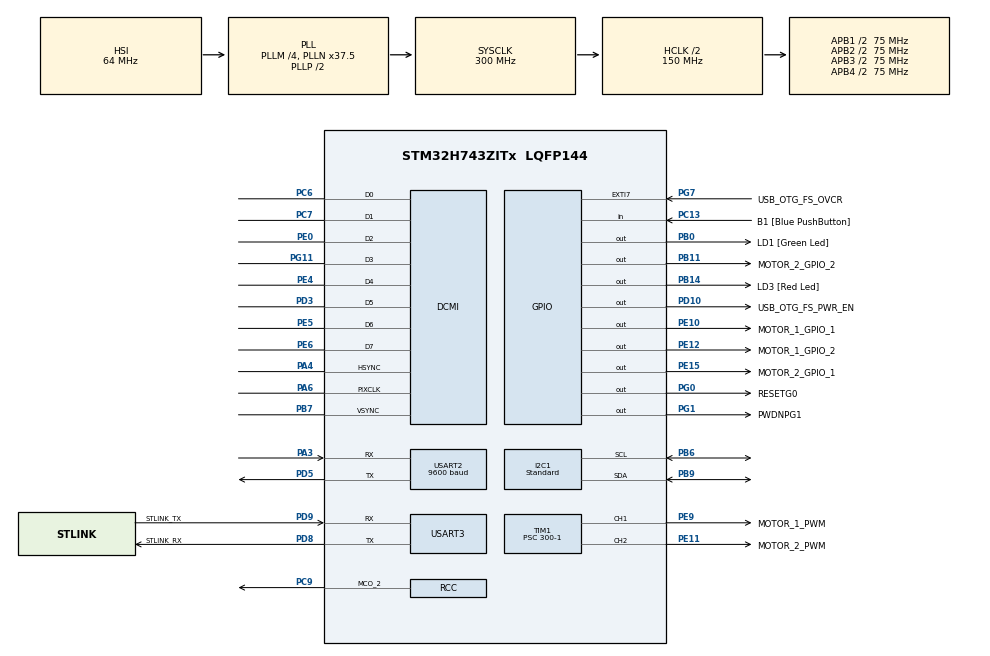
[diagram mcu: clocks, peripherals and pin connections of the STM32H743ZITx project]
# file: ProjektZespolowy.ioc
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DCMI.JPEGMode=DCMI_JPEG_ENABLE
DCMI.PCKPolarity=DCMI_PCKPOLARITY_RISING
Dma.DCMI.0.Direction=DMA_PERIPH_TO_MEMORY
Dma.DCMI.0.EventEnable=DISABLE
Dma.DCMI.0.FIFOMode=DMA_FIFOMODE_ENABLE
Dma.DCMI.0.FIFOThreshold=DMA_FIFO_THRESHOLD_FULL
Dma.DCMI.0.Instance=DMA1_Stream2
Dma.DCMI.0.MemBurst=DMA_MBURST_SINGLE
Dma.DCMI.0.MemDataAlignment=DMA_MDATAALIGN_BYTE
Dma.DCMI.0.MemInc=DMA_MINC_ENABLE
Dma.DCMI.0.Mode=DMA_CIRCULAR
Dma.DCMI.0.PeriphBurst=DMA_PBURST_SINGLE
Dma.DCMI.0.PeriphDataAlignment=DMA_PDATAALIGN_WORD
Dma.DCMI.0.PeriphInc=DMA_PINC_DISABLE
Dma.DCMI.0.Polarity=HAL_DMAMUX_REQ_GEN_RISING
Dma.DCMI.0.Priority=DMA_PRIORITY_VERY_HIGH
Dma.DCMI.0.RequestNumber=1
Dma.DCMI.0.SignalID=NONE
Dma.DCMI.0.SyncEnable=DISABLE
Dma.DCMI.0.SyncPolarity=HAL_DMAMUX_SYNC_NO_EVENT
Dma.DCMI.0.SyncRequestNumber=1
Dma.DCMI.0.SyncSignalID=NONE
Dma.Request0=DCMI
Dma.Request1=USART3_TX
Dma.Request2=USART2_RX
Dma.USART2_RX.2.Direction=DMA_PERIPH_TO_MEMORY
Dma.USART2_RX.2.EventEnable=DISABLE
Dma.USART2_RX.2.FIFOMode=DMA_FIFOMODE_DISABLE
Dma.USART2_RX.2.Instance=DMA1_Stream1
Dma.USART2_RX.2.MemDataAlignment=DMA_MDATAALIGN_BYTE
Dma.USART2_RX.2.MemInc=DMA_MINC_ENABLE
Dma.USART2_RX.2.Mode=DMA_NORMAL
Dma.USART2_RX.2.PeriphDataAlignment=DMA_PDATAALIGN_BYTE
Dma.USART2_RX.2.PeriphInc=DMA_PINC_DISABLE
Dma.USART2_RX.2.Polarity=HAL_DMAMUX_REQ_GEN_RISING
Dma.USART2_RX.2.Priority=DMA_PRIORITY_LOW
Dma.USART2_RX.2.RequestNumber=1
Dma.USART2_RX.2.SignalID=NONE
Dma.USART2_RX.2.SyncEnable=DISABLE
Dma.USART2_RX.2.SyncPolarity=HAL_DMAMUX_SYNC_NO_EVENT
Dma.USART2_RX.2.SyncRequestNumber=1
Dma.USART2_RX.2.SyncSignalID=NONE
Dma.USART3_TX.1.Direction=DMA_MEMORY_TO_PERIPH
Dma.USART3_TX.1.EventEnable=DISABLE
Dma.USART3_TX.1.FIFOMode=DMA_FIFOMODE_ENABLE
Dma.USART3_TX.1.FIFOThreshold=DMA_FIFO_THRESHOLD_FULL
Dma.USART3_TX.1.Instance=DMA1_Stream0
Dma.USART3_TX.1.MemBurst=DMA_MBURST_SINGLE
Dma.USART3_TX.1.MemDataAlignment=DMA_MDATAALIGN_BYTE
Dma.USART3_TX.1.MemInc=DMA_MINC_ENABLE
Dma.USART3_TX.1.Mode=DMA_NORMAL
Dma.USART3_TX.1.PeriphBurst=DMA_PBURST_SINGLE
Dma.USART3_TX.1.PeriphDataAlignment=DMA_PDATAALIGN_BYTE
Dma.USART3_TX.1.PeriphInc=DMA_PINC_DISABLE
Dma.USART3_TX.1.Polarity=HAL_DMAMUX_REQ_GEN_RISING
Dma.USART3_TX.1.Priority=DMA_PRIORITY_VERY_HIGH
Dma.USART3_TX.1.RequestNumber=1
Dma.USART3_TX.1.SignalID=NONE
Dma.USART3_TX.1.SyncEnable=DISABLE
Dma.USART3_TX.1.SyncPolarity=HAL_DMAMUX_SYNC_NO_EVENT
Dma.USART3_TX.1.SyncRequestNumber=1
Dma.USART3_TX.1.SyncSignalID=NONE
I2C1.I2C_Speed_Mode=I2C_Standard
I2C1.Timing=0x109093DC
Mcu.Family=STM32H7
Mcu.Name=STM32H743ZITx
Mcu.Package=LQFP144
NVIC.DCMI_IRQn=true\:0\:0\:false\:false\:true\:true\:true\:true
NVIC.DMA1_Stream0_IRQn=true\:0\:0\:false\:false\:true\:false\:true\:true
NVIC.DMA1_Stream1_IRQn=true\:0\:0\:false\:false\:true\:false\:true\:true
NVIC.DMA1_Stream2_IRQn=true\:0\:0\:false\:false\:true\:false\:true\:true
NVIC.PriorityGroup=NVIC_PRIORITYGROUP_4
NVIC.USART2_IRQn=true\:0\:0\:false\:false\:true\:true\:true\:true
PA3.Mode=Asynchronous
PA3.Signal=USART2_RX
PA4.GPIO_Speed=GPIO_SPEED_FREQ_VERY_HIGH
PA4.Mode=Slave_8_bits_External_Synchro
PA4.Signal=DCMI_HSYNC
PA6.GPIO_Speed=GPIO_SPEED_FREQ_VERY_HIGH
PA6.Mode=Slave_8_bits_External_Synchro
PA6.Signal=DCMI_PIXCLK
PB0.GPIO_Label=LD1 [Green Led]
PB0.Signal=GPIO_Output
PB11.GPIO_Label=MOTOR_2_GPIO_2 
PB11.Signal=GPIO_Output
PB14.GPIO_Label=LD3 [Red Led]
PB14.Signal=GPIO_Output
PB6.GPIO_Speed=GPIO_SPEED_FREQ_VERY_HIGH
PB6.Mode=I2C
PB6.Signal=I2C1_SCL
PB7.GPIO_Speed=GPIO_SPEED_FREQ_VERY_HIGH
PB7.Mode=Slave_8_bits_External_Synchro
PB7.Signal=DCMI_VSYNC
PB9.GPIO_Speed=GPIO_SPEED_FREQ_VERY_HIGH
PB9.Mode=I2C
PB9.Signal=I2C1_SDA
PC13.GPIO_Label=B1 [Blue PushButton]
PC13.Signal=GPIO_Input
PC14-OSC32_IN\ (OSC32_IN).Mode=LSE-External-Oscillator
PC14-OSC32_IN\ (OSC32_IN).Signal=RCC_OSC32_IN
PC15-OSC32_OUT\ (OSC32_OUT).Mode=LSE-External-Oscillator
PC15-OSC32_OUT\ (OSC32_OUT).Signal=RCC_OSC32_OUT
PC6.GPIO_Speed=GPIO_SPEED_FREQ_VERY_HIGH
PC6.Mode=Slave_8_bits_External_Synchro
PC6.Signal=DCMI_D0
PC7.GPIO_Speed=GPIO_SPEED_FREQ_VERY_HIGH
PC7.Mode=Slave_8_bits_External_Synchro
PC7.Signal=DCMI_D1
PC9.GPIO_Speed=GPIO_SPEED_FREQ_LOW
PC9.Mode=Clock-out-2
PC9.Signal=RCC_MCO_2
PD10.GPIO_Label=USB_OTG_FS_PWR_EN
PD10.Signal=GPIO_Output
PD3.GPIO_Speed=GPIO_SPEED_FREQ_VERY_HIGH
PD3.Mode=Slave_8_bits_External_Synchro
PD3.Signal=DCMI_D5
PD5.Mode=Asynchronous
PD5.Signal=USART2_TX
PD8.GPIO_Label=STLINK_RX
PD8.Mode=Asynchronous
PD8.Signal=USART3_TX
PD9.GPIO_Label=STLINK_TX
PD9.Mode=Asynchronous
PD9.Signal=USART3_RX
PE0.GPIO_Speed=GPIO_SPEED_FREQ_VERY_HIGH
PE0.Mode=Slave_8_bits_External_Synchro
PE0.Signal=DCMI_D2
PE10.GPIO_Label=MOTOR_1_GPIO_1
PE10.Signal=GPIO_Output
PE11.GPIO_Label=MOTOR_2_PWM
PE11.Signal=S_TIM1_CH2
PE12.GPIO_Label=MOTOR_1_GPIO_2
PE12.Signal=GPIO_Output
PE15.GPIO_Label=MOTOR_2_GPIO_1
PE15.Signal=GPIO_Output
PE4.GPIO_Speed=GPIO_SPEED_FREQ_VERY_HIGH
PE4.Mode=Slave_8_bits_External_Synchro
PE4.Signal=DCMI_D4
PE5.GPIO_Speed=GPIO_SPEED_FREQ_VERY_HIGH
PE5.Mode=Slave_8_bits_External_Synchro
PE5.Signal=DCMI_D6
PE6.GPIO_Speed=GPIO_SPEED_FREQ_VERY_HIGH
PE6.Mode=Slave_8_bits_External_Synchro
PE6.Signal=DCMI_D7
PE9.GPIO_Label=MOTOR_1_PWM
PE9.Signal=S_TIM1_CH1
PG0.GPIO_Label=RESETG0
PG0.Signal=GPIO_Output
PG1.GPIO_Label=PWDNPG1
PG1.Signal=GPIO_Output
PG11.GPIO_Speed=GPIO_SPEED_FREQ_VERY_HIGH
PG11.Mode=Slave_8_bits_External_Synchro
PG11.Signal=DCMI_D3
PG7.GPIO_Label=USB_OTG_FS_OVCR
PG7.Signal=GPXTI7
PH0-OSC_IN\ (PH0).Mode=HSE-External-Oscillator
PH0-OSC_IN\ (PH0).Signal=RCC_OSC_IN
PH1-OSC_OUT\ (PH1).Mode=HSE-External-Oscillator
PH1-OSC_OUT\ (PH1).Signal=RCC_OSC_OUT
ProjectManager.HeapSize=0x200
ProjectManager.StackSize=0x400
ProjectManager.TargetToolchain=STM32CubeIDE
RCC.ADCFreq_Value=129000000
RCC.APB1Freq_Value=75000000
RCC.APB2Freq_Value=75000000
RCC.APB3Freq_Value=75000000
RCC.APB4Freq_Value=75000000
RCC.CortexFreq_Value=300000000
RCC.D1PPRE=RCC_APB3_DIV2
RCC.D2PPRE1=RCC_APB1_DIV2
RCC.D2PPRE2=RCC_APB2_DIV2
RCC.D3PPRE=RCC_APB4_DIV2
RCC.DIVM1=4
RCC.DIVN1=37
RCC.DIVQ1=4
RCC.HCLKFreq_Value=150000000
RCC.HPRE=RCC_HCLK_DIV2
RCC.HSE_VALUE=8000000
RCC.PLL2FRACN=0
RCC.PLL3FRACN=0
RCC.PLLFRACN=4096
RCC.PWR_Regulator_Voltage_Scale=PWR_REGULATOR_VOLTAGE_SCALE2
RCC.RCC_MCODiv2=RCC_MCODIV_12
RCC.SYSCLKFreq_VALUE=300000000
RCC.SYSCLKSource=RCC_SYSCLKSOURCE_PLLCLK
RCC.USBFreq_Value=150000000
SH.S_TIM1_CH1.0=TIM1_CH1,PWM Generation1 CH1
SH.S_TIM1_CH2.0=TIM1_CH2,PWM Generation2 CH2
TIM1.Channel-PWM\ Generation1\ CH1=TIM_CHANNEL_1
TIM1.Channel-PWM\ Generation2\ CH2=TIM_CHANNEL_2
TIM1.Period=1000-1
TIM1.Prescaler=300-1
USART2.BaudRate=9600
USART2.VirtualMode-Asynchronous=VM_ASYNC
USART3.VirtualMode-Asynchronous=VM_ASYNC
VP_JPEG_VS_JPEG.Mode=JPEG_Activate
board=NUCLEO-H743ZI2

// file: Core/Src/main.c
/* USER CODE BEGIN Header */
/**
  ******************************************************************************
  * @file           : main.c
  * @brief          : Main program body
  ******************************************************************************
  * @attention
  *
  * Copyright (c) 2022 STMicroelectronics.
  * All rights reserved.
  *
  * This software is licensed under terms that can be found in the LICENSE file
  * in the root directory of this software component.
  * If no LICENSE file comes with this software, it is provided AS-IS.
  *
  ******************************************************************************
  */
/* USER CODE END Header */
#include "main.h"

/* USER CODE BEGIN Includes */
#include "camera.h"
#include "string.h"
#include "stdio.h"
/* USER CODE END Includes */

/* USER CODE BEGIN PTD */
#define RxBuff_SIZE 64
#define MainBuf_SIZE 128

uint8_t MainBuff[MainBuf_SIZE];
uint8_t RxBuff[RxBuff_SIZE];

/* USER CODE END PTD */

/* USER CODE BEGIN PD */
#define RES320x240
//#define RES800x600
//#define RES1024x768
//#define RES1280x960

/* USER CODE END PD */

DCMI_HandleTypeDef hdcmi;
DMA_HandleTypeDef hdma_dcmi;

I2C_HandleTypeDef hi2c1;

JPEG_HandleTypeDef hjpeg;

TIM_HandleTypeDef htim1;

UART_HandleTypeDef huart2;
UART_HandleTypeDef huart3;
DMA_HandleTypeDef hdma_usart2_rx;
DMA_HandleTypeDef hdma_usart3_tx;

/* USER CODE BEGIN PV */
#ifdef RES320x240
enum imgResolution imgRes = RES_320x240;
uint8_t imgFrameBuffer[15534] = {0};
#endif

#ifdef RES800x600
enum imgResolution imgRes = RES_800x600;
uint8_t imgFrameBuffer[] = {0};
#endif

#ifdef RES1024x768
enum imgResolution imgRes = RES_1024x768;
uint8_t imgFrameBuffer[] = {0};
#endif

#ifdef RES1280x960
enum imgResolution imgRes = RES_1280x960;
uint8_t imgFrameBuffer[] = {0};
#endif

uint32_t mutex = 0;
uint16_t imgBufferPointer = 0;
uint16_t imgHeaderFound = 0;
volatile uint16_t recieve_flag=0;
volatile uint16_t size_recieved=0;
/* USER CODE END PV */

void SystemClock_Config(void);
static void MX_GPIO_Init(void);
static void MX_DMA_Init(void);
static void MX_USART3_UART_Init(void);
static void MX_DCMI_Init(void);
static void MX_I2C1_Init(void);
static void MX_JPEG_Init(void);
static void MX_USART2_UART_Init(void);
static void MX_TIM1_Init(void);
/* USER CODE BEGIN PFP */
uint8_t data;
/* USER CODE END PFP */

/* USER CODE BEGIN 0 */
/*
void HAL_UART_RxCpltCallback(UART_HandleTypeDef * uart) {
	if (uart == &huart2) {
		//frame_parser_recv_char(&frame_parser_handler, recv_char);
		recieve_flag = 1;
		HAL_UART_Transmit_IT(uart, data, 1);
		HAL_UART_Receive_IT(&huart2, data, 1);
	}
}
*/

int _write(int file, unsigned char *ptr, int len){
	HAL_UART_Transmit(&huart2, ptr, len, HAL_MAX_DELAY);
	return len;
}
/* USER CODE END 0 */

int main(void)
{

  /* MCU Configuration--------------------------------------------------------*/

  /* Reset of all peripherals, Initializes the Flash interface and the Systick. */
  HAL_Init();

  /* Configure the system clock */
  SystemClock_Config();

  /* Initialize all configured peripherals */
  MX_GPIO_Init();
  MX_DMA_Init();
  MX_USART3_UART_Init();
  MX_DCMI_Init();
  MX_I2C1_Init();
  MX_JPEG_Init();
  MX_USART2_UART_Init();
  MX_TIM1_Init();
  /* USER CODE BEGIN 2 */

  camera_setUART(&huart2);
  camera_Init(&hi2c1, &hdcmi);
  HAL_Delay(10);

  HAL_TIM_Base_Start(&htim1);
  //camera_ResolutionConfiguration(imgRes);
  //camera_configuration(OV2640_QVGA);
  HAL_Delay(10);
  HAL_UARTEx_ReceiveToIdle_DMA(&huart2,RxBuff,RxBuff_SIZE);
  __HAL_DMA_DISABLE_IT(&hdma_usart2_rx, DMA_IT_HT);

  HAL_UART_Transmit(&huart2, (uint8_t*)"Koniec\n\r", strlen("Koniec\n\r"), 100);

  int pwm_1=0;
  int pwm_2 =0;
  char state = 0;
  /* USER CODE END 2 */

  /* Infinite loop */
  /* USER CODE BEGIN WHILE */
  while (1)
  {

/*
    # forward = 1 backward = 0 => do przodu
    #
    # 0 1 => do tylu
    #
    # 0 0 => 'soft stop'
    #
    # 1 1 => tylko zmiana predkosci
    #
    # WAZNE predkosc z zakresu 0 - 100 [%]
    #
    # pwm wypelniane %
    # pi_pwm1.ChangeDutyCycle(speed)
	*/

	  if(recieve_flag)
	  {
		  recieve_flag=0;

		  memcpy(MainBuff,RxBuff,size_recieved);
		  HAL_UARTEx_ReceiveToIdle_DMA(&huart2,RxBuff,RxBuff_SIZE);
		   __HAL_DMA_DISABLE_IT(&hdma_usart2_rx,DMA_IT_HT);
		  //HAL_UART_Receive_DMA(&huart2, data, 100);
		  //HAL_UART_Transmit(&huart2, data, strlen(data), 100);

		  printf("Recieved: %s\r\n",MainBuff);
		  //sscanf(MainBuff,"%c %d %d",&state,&pwm_1,&pwm_2);
		  //memcpy(MainBuff,0,size_recieved);

		 // printf("Recieved2: %c %d %d\r\n",state,pwm_1,pwm_2);

		  if(pwm_1>0)//do przodu
		  {
			  HAL_GPIO_WritePin(MOTOR_1_GPIO_1_GPIO_Port, MOTOR_1_GPIO_1_Pin,	1);
			  HAL_GPIO_WritePin(MOTOR_1_GPIO_2_GPIO_Port, MOTOR_1_GPIO_2_Pin,	0);

			  __HAL_TIM_SET_COMPARE(&htim1, TIM_CHANNEL_1, 1000.0*pwm_1/100.0);

		  }else // do tyłu
		  {
			  HAL_GPIO_WritePin(MOTOR_1_GPIO_1_GPIO_Port, MOTOR_1_GPIO_1_Pin,	0);
			  HAL_GPIO_WritePin(MOTOR_1_GPIO_2_GPIO_Port, MOTOR_1_GPIO_2_Pin,	1);

			  __HAL_TIM_SET_COMPARE(&htim1, TIM_CHANNEL_1, -1000.0*pwm_1/100.0);

		  }

		  if(pwm_2>0)//do przodu
		  {
			  HAL_GPIO_WritePin(MOTOR_2_GPIO_1_GPIO_Port,  MOTOR_2_GPIO_1_Pin,	1);
			  HAL_GPIO_WritePin(MOTOR_2_GPIO_2_GPIO_Port, MOTOR_2_GPIO_2_Pin,	0);

			  __HAL_TIM_SET_COMPARE(&htim1, TIM_CHANNEL_2, 1000.0*pwm_2/100.0);

		   }else // do tyłu
		   {
				  HAL_GPIO_WritePin(MOTOR_2_GPIO_1_GPIO_Port, MOTOR_2_GPIO_1_Pin,	0);
				  HAL_GPIO_WritePin(MOTOR_2_GPIO_2_GPIO_Port, MOTOR_2_GPIO_2_Pin,	1);

				  __HAL_TIM_SET_COMPARE(&htim1, TIM_CHANNEL_2, -1000.0*pwm_2/100.0);
		   }
		  if(state == 'r')//jeżęli puszczono
		  {

			  //soft stop
			  HAL_GPIO_WritePin(MOTOR_1_GPIO_1_GPIO_Port, MOTOR_1_GPIO_1_Pin,	0);
			  HAL_GPIO_WritePin(MOTOR_1_GPIO_2_GPIO_Port, MOTOR_1_GPIO_2_Pin,	0);
			  HAL_GPIO_WritePin(MOTOR_2_GPIO_1_GPIO_Port, MOTOR_2_GPIO_1_Pin,	0);
			  HAL_GPIO_WritePin(MOTOR_2_GPIO_2_GPIO_Port, MOTOR_2_GPIO_2_Pin,	0);

		  }
	  }
	  /*if(HAL_GPIO_ReadPin(B1_GPIO_Port, B1_Pin)){
		  //HAL_UART_Transmit(&huart2, (uint8_t*)"Przycisk", strlen("Przycisk"), 100);
		  //HAL_UART_Transmit(huart, pData, Size, Timeout)
		  camera_CaptureSnapshot();
		  //camera_CaptureContinuous();
	  }*/
	  /*if(HAL_GPIO_ReadPin(B1_GPIO_Port, B1_Pin)){
		  if(mutex == 1){
			  HAL_DCMI_Stop(&hdcmi);
			  memset(imgFrameBuffer, 0, sizeof imgFrameBuffer);
			  //camera_CaptureSnapshot((uint32_t) imgFrameBuffer, 15534);
			  HAL_DCMI_Start_DMA(&hdcmi, DCMI_MODE_SNAPSHOT, (uint32_t)imgFrameBuffer, 65535/4);
			  //HAL_UART_Transmit_DMA(&huart2, imgFrameBuffer, 15534)
			  while(1)
			  {
				  if(imgHeaderFound == 0 && imgFrameBuffer[imgBufferPointer] == 0xFF
						  && imgFrameBuffer[imgBufferPointer+1] == 0xD8){
					  imgHeaderFound = 1;
				  }

				  if(imgHeaderFound == 1 && imgFrameBuffer[imgBufferPointer] == 0xFF
				 						  && imgFrameBuffer[imgBufferPointer+1] == 0xD9){
					  imgBufferPointer += 2;
					  imgHeaderFound = 0;
					  break;
				  }

				  if(imgBufferPointer >= 65535){
					  break;
				  }
				  imgBufferPointer++;
			  }
			  HAL_UART_Transmit_DMA(&huart2, imgFrameBuffer, imgBufferPointer);
			  imgBufferPointer = 0;
			  mutex = 0;
		  }
	  }else{
		  mutex = 1;
	  }*/
    /* USER CODE END WHILE */

  }
}

void SystemClock_Config(void)
{
  RCC_OscInitTypeDef RCC_OscInitStruct = {0};
  RCC_ClkInitTypeDef RCC_ClkInitStruct = {0};

  /** Supply configuration update enable
  */
  HAL_PWREx_ConfigSupply(PWR_LDO_SUPPLY);

  /** Configure the main internal regulator output voltage
  */
  __HAL_PWR_VOLTAGESCALING_CONFIG(PWR_REGULATOR_VOLTAGE_SCALE2);

  while(!__HAL_PWR_GET_FLAG(PWR_FLAG_VOSRDY)) {}

  /** Initializes the RCC Oscillators according to the specified parameters
  * in the RCC_OscInitTypeDef structure.
  */
  RCC_OscInitStruct.OscillatorType = RCC_OSCILLATORTYPE_HSI;
  RCC_OscInitStruct.HSIState = RCC_HSI_DIV1;
  RCC_OscInitStruct.HSICalibrationValue = RCC_HSICALIBRATION_DEFAULT;
  RCC_OscInitStruct.PLL.PLLState = RCC_PLL_ON;
  RCC_OscInitStruct.PLL.PLLSource = RCC_PLLSOURCE_HSI;
  RCC_OscInitStruct.PLL.PLLM = 4;
  RCC_OscInitStruct.PLL.PLLN = 37;
  RCC_OscInitStruct.PLL.PLLP = 2;
  RCC_OscInitStruct.PLL.PLLQ = 4;
  RCC_OscInitStruct.PLL.PLLR = 2;
  RCC_OscInitStruct.PLL.PLLRGE = RCC_PLL1VCIRANGE_3;
  RCC_OscInitStruct.PLL.PLLVCOSEL = RCC_PLL1VCOWIDE;
  RCC_OscInitStruct.PLL.PLLFRACN = 4096;
  if (HAL_RCC_OscConfig(&RCC_OscInitStruct) != HAL_OK)
  {
    Error_Handler();
  }

  /** Initializes the CPU, AHB and APB buses clocks
  */
  RCC_ClkInitStruct.ClockType = RCC_CLOCKTYPE_HCLK|RCC_CLOCKTYPE_SYSCLK
                              |RCC_CLOCKTYPE_PCLK1|RCC_CLOCKTYPE_PCLK2
                              |RCC_CLOCKTYPE_D3PCLK1|RCC_CLOCKTYPE_D1PCLK1;
  RCC_ClkInitStruct.SYSCLKSource = RCC_SYSCLKSOURCE_PLLCLK;
  RCC_ClkInitStruct.SYSCLKDivider = RCC_SYSCLK_DIV1;
  RCC_ClkInitStruct.AHBCLKDivider = RCC_HCLK_DIV2;
  RCC_ClkInitStruct.APB3CLKDivider = RCC_APB3_DIV2;
  RCC_ClkInitStruct.APB1CLKDivider = RCC_APB1_DIV2;
  RCC_ClkInitStruct.APB2CLKDivider = RCC_APB2_DIV2;
  RCC_ClkInitStruct.APB4CLKDivider = RCC_APB4_DIV2;

  if (HAL_RCC_ClockConfig(&RCC_ClkInitStruct, FLASH_LATENCY_2) != HAL_OK)
  {
    Error_Handler();
  }
  HAL_RCC_MCOConfig(RCC_MCO2, RCC_MCO2SOURCE_SYSCLK, RCC_MCODIV_12);
}

static void MX_DCMI_Init(void)
{

  hdcmi.Instance = DCMI;
  hdcmi.Init.SynchroMode = DCMI_SYNCHRO_HARDWARE;
  hdcmi.Init.PCKPolarity = DCMI_PCKPOLARITY_RISING;
  hdcmi.Init.VSPolarity = DCMI_VSPOLARITY_LOW;
  hdcmi.Init.HSPolarity = DCMI_HSPOLARITY_LOW;
  hdcmi.Init.CaptureRate = DCMI_CR_ALL_FRAME;
  hdcmi.Init.ExtendedDataMode = DCMI_EXTEND_DATA_8B;
  hdcmi.Init.JPEGMode = DCMI_JPEG_ENABLE;
  hdcmi.Init.ByteSelectMode = DCMI_BSM_ALL;
  hdcmi.Init.ByteSelectStart = DCMI_OEBS_ODD;
  hdcmi.Init.LineSelectMode = DCMI_LSM_ALL;
  hdcmi.Init.LineSelectStart = DCMI_OELS_ODD;
  if (HAL_DCMI_Init(&hdcmi) != HAL_OK)
  {
    Error_Handler();
  }

}

static void MX_I2C1_Init(void)
{

  hi2c1.Instance = I2C1;
  hi2c1.Init.Timing = 0x109093DC;
  hi2c1.Init.OwnAddress1 = 0;
  hi2c1.Init.AddressingMode = I2C_ADDRESSINGMODE_7BIT;
  hi2c1.Init.DualAddressMode = I2C_DUALADDRESS_DISABLE;
  hi2c1.Init.OwnAddress2 = 0;
  hi2c1.Init.OwnAddress2Masks = I2C_OA2_NOMASK;
  hi2c1.Init.GeneralCallMode = I2C_GENERALCALL_DISABLE;
  hi2c1.Init.NoStretchMode = I2C_NOSTRETCH_DISABLE;
  if (HAL_I2C_Init(&hi2c1) != HAL_OK)
  {
    Error_Handler();
  }

  /** Configure Analogue filter
  */
  if (HAL_I2CEx_ConfigAnalogFilter(&hi2c1, I2C_ANALOGFILTER_ENABLE) != HAL_OK)
  {
    Error_Handler();
  }

  /** Configure Digital filter
  */
  if (HAL_I2CEx_ConfigDigitalFilter(&hi2c1, 0) != HAL_OK)
  {
    Error_Handler();
  }

}

static void MX_JPEG_Init(void)
{

  hjpeg.Instance = JPEG;
  if (HAL_JPEG_Init(&hjpeg) != HAL_OK)
  {
    Error_Handler();
  }

}

static void MX_TIM1_Init(void)
{

  TIM_MasterConfigTypeDef sMasterConfig = {0};
  TIM_OC_InitTypeDef sConfigOC = {0};
  TIM_BreakDeadTimeConfigTypeDef sBreakDeadTimeConfig = {0};

  htim1.Instance = TIM1;
  htim1.Init.Prescaler = 300-1;
  htim1.Init.CounterMode = TIM_COUNTERMODE_UP;
  htim1.Init.Period = 1000-1;
  htim1.Init.ClockDivision = TIM_CLOCKDIVISION_DIV1;
  htim1.Init.RepetitionCounter = 0;
  htim1.Init.AutoReloadPreload = TIM_AUTORELOAD_PRELOAD_DISABLE;
  if (HAL_TIM_PWM_Init(&htim1) != HAL_OK)
  {
    Error_Handler();
  }
  sMasterConfig.MasterOutputTrigger = TIM_TRGO_RESET;
  sMasterConfig.MasterOutputTrigger2 = TIM_TRGO2_RESET;
  sMasterConfig.MasterSlaveMode = TIM_MASTERSLAVEMODE_DISABLE;
  if (HAL_TIMEx_MasterConfigSynchronization(&htim1, &sMasterConfig) != HAL_OK)
  {
    Error_Handler();
  }
  sConfigOC.OCMode = TIM_OCMODE_PWM1;
  sConfigOC.Pulse = 0;
  sConfigOC.OCPolarity = TIM_OCPOLARITY_HIGH;
  sConfigOC.OCNPolarity = TIM_OCNPOLARITY_HIGH;
  sConfigOC.OCFastMode = TIM_OCFAST_DISABLE;
  sConfigOC.OCIdleState = TIM_OCIDLESTATE_RESET;
  sConfigOC.OCNIdleState = TIM_OCNIDLESTATE_RESET;
  if (HAL_TIM_PWM_ConfigChannel(&htim1, &sConfigOC, TIM_CHANNEL_1) != HAL_OK)
  {
    Error_Handler();
  }
  if (HAL_TIM_PWM_ConfigChannel(&htim1, &sConfigOC, TIM_CHANNEL_2) != HAL_OK)
  {
    Error_Handler();
  }
  sBreakDeadTimeConfig.OffStateRunMode = TIM_OSSR_DISABLE;
  sBreakDeadTimeConfig.OffStateIDLEMode = TIM_OSSI_DISABLE;
  sBreakDeadTimeConfig.LockLevel = TIM_LOCKLEVEL_OFF;
  sBreakDeadTimeConfig.DeadTime = 0;
  sBreakDeadTimeConfig.BreakState = TIM_BREAK_DISABLE;
  sBreakDeadTimeConfig.BreakPolarity = TIM_BREAKPOLARITY_HIGH;
  sBreakDeadTimeConfig.BreakFilter = 0;
  sBreakDeadTimeConfig.Break2State = TIM_BREAK2_DISABLE;
  sBreakDeadTimeConfig.Break2Polarity = TIM_BREAK2POLARITY_HIGH;
  sBreakDeadTimeConfig.Break2Filter = 0;
  sBreakDeadTimeConfig.AutomaticOutput = TIM_AUTOMATICOUTPUT_DISABLE;
  if (HAL_TIMEx_ConfigBreakDeadTime(&htim1, &sBreakDeadTimeConfig) != HAL_OK)
  {
    Error_Handler();
  }
  HAL_TIM_MspPostInit(&htim1);

}

static void MX_USART2_UART_Init(void)
{

  huart2.Instance = USART2;
  huart2.Init.BaudRate = 9600;
  huart2.Init.WordLength = UART_WORDLENGTH_8B;
  huart2.Init.StopBits = UART_STOPBITS_1;
  huart2.Init.Parity = UART_PARITY_NONE;
  huart2.Init.Mode = UART_MODE_TX_RX;
  huart2.Init.HwFlowCtl = UART_HWCONTROL_NONE;
  huart2.Init.OverSampling = UART_OVERSAMPLING_16;
  huart2.Init.OneBitSampling = UART_ONE_BIT_SAMPLE_DISABLE;
  huart2.Init.ClockPrescaler = UART_PRESCALER_DIV1;
  huart2.AdvancedInit.AdvFeatureInit = UART_ADVFEATURE_NO_INIT;
  if (HAL_UART_Init(&huart2) != HAL_OK)
  {
    Error_Handler();
  }
  if (HAL_UARTEx_SetTxFifoThreshold(&huart2, UART_TXFIFO_THRESHOLD_1_8) != HAL_OK)
  {
    Error_Handler();
  }
  if (HAL_UARTEx_SetRxFifoThreshold(&huart2, UART_RXFIFO_THRESHOLD_1_8) != HAL_OK)
  {
    Error_Handler();
  }
  if (HAL_UARTEx_DisableFifoMode(&huart2) != HAL_OK)
  {
    Error_Handler();
  }

}

static void MX_USART3_UART_Init(void)
{

  huart3.Instance = USART3;
  huart3.Init.BaudRate = 115200;
  huart3.Init.WordLength = UART_WORDLENGTH_8B;
  huart3.Init.StopBits = UART_STOPBITS_1;
  huart3.Init.Parity = UART_PARITY_NONE;
  huart3.Init.Mode = UART_MODE_TX_RX;
  huart3.Init.HwFlowCtl = UART_HWCONTROL_NONE;
  huart3.Init.OverSampling = UART_OVERSAMPLING_16;
  huart3.Init.OneBitSampling = UART_ONE_BIT_SAMPLE_DISABLE;
  huart3.Init.ClockPrescaler = UART_PRESCALER_DIV1;
  huart3.AdvancedInit.AdvFeatureInit = UART_ADVFEATURE_NO_INIT;
  if (HAL_UART_Init(&huart3) != HAL_OK)
  {
    Error_Handler();
  }
  if (HAL_UARTEx_SetTxFifoThreshold(&huart3, UART_TXFIFO_THRESHOLD_1_8) != HAL_OK)
  {
    Error_Handler();
  }
  if (HAL_UARTEx_SetRxFifoThreshold(&huart3, UART_RXFIFO_THRESHOLD_1_8) != HAL_OK)
  {
    Error_Handler();
  }
  if (HAL_UARTEx_DisableFifoMode(&huart3) != HAL_OK)
  {
    Error_Handler();
  }

}

static void MX_DMA_Init(void)
{

  /* DMA controller clock enable */
  __HAL_RCC_DMA1_CLK_ENABLE();

  /* DMA interrupt init */
  /* DMA1_Stream0_IRQn interrupt configuration */
  HAL_NVIC_SetPriority(DMA1_Stream0_IRQn, 0, 0);
  HAL_NVIC_EnableIRQ(DMA1_Stream0_IRQn);
  /* DMA1_Stream1_IRQn interrupt configuration */
  HAL_NVIC_SetPriority(DMA1_Stream1_IRQn, 0, 0);
  HAL_NVIC_EnableIRQ(DMA1_Stream1_IRQn);
  /* DMA1_Stream2_IRQn interrupt configuration */
  HAL_NVIC_SetPriority(DMA1_Stream2_IRQn, 0, 0);
  HAL_NVIC_EnableIRQ(DMA1_Stream2_IRQn);

}

static void MX_GPIO_Init(void)
{
  GPIO_InitTypeDef GPIO_InitStruct = {0};

  /* GPIO Ports Clock Enable */
  __HAL_RCC_GPIOE_CLK_ENABLE();
  __HAL_RCC_GPIOC_CLK_ENABLE();
  __HAL_RCC_GPIOH_CLK_ENABLE();
  __HAL_RCC_GPIOA_CLK_ENABLE();
  __HAL_RCC_GPIOB_CLK_ENABLE();
  __HAL_RCC_GPIOG_CLK_ENABLE();
  __HAL_RCC_GPIOD_CLK_ENABLE();

  /*Configure GPIO pin Output Level */
  HAL_GPIO_WritePin(GPIOB, LD1_Pin|MOTOR_2_GPIO_2_Pin|LD3_Pin, GPIO_PIN_RESET);

  /*Configure GPIO pin Output Level */
  HAL_GPIO_WritePin(GPIOG, RESETG0_Pin|PWDNPG1_Pin, GPIO_PIN_RESET);

  /*Configure GPIO pin Output Level */
  HAL_GPIO_WritePin(GPIOE, MOTOR_1_GPIO_1_Pin|MOTOR_1_GPIO_2_Pin|MOTOR_2_GPIO_1_Pin, GPIO_PIN_RESET);

  /*Configure GPIO pin Output Level */
  HAL_GPIO_WritePin(USB_OTG_FS_PWR_EN_GPIO_Port, USB_OTG_FS_PWR_EN_Pin, GPIO_PIN_RESET);

  /*Configure GPIO pin : B1_Pin */
  GPIO_InitStruct.Pin = B1_Pin;
  GPIO_InitStruct.Mode = GPIO_MODE_INPUT;
  GPIO_InitStruct.Pull = GPIO_NOPULL;
  HAL_GPIO_Init(B1_GPIO_Port, &GPIO_InitStruct);

  /*Configure GPIO pins : LD1_Pin MOTOR_2_GPIO_2_Pin LD3_Pin */
  GPIO_InitStruct.Pin = LD1_Pin|MOTOR_2_GPIO_2_Pin|LD3_Pin;
  GPIO_InitStruct.Mode = GPIO_MODE_OUTPUT_PP;
  GPIO_InitStruct.Pull = GPIO_NOPULL;
  GPIO_InitStruct.Speed = GPIO_SPEED_FREQ_LOW;
  HAL_GPIO_Init(GPIOB, &GPIO_InitStruct);

  /*Configure GPIO pins : RESETG0_Pin PWDNPG1_Pin */
  GPIO_InitStruct.Pin = RESETG0_Pin|PWDNPG1_Pin;
  GPIO_InitStruct.Mode = GPIO_MODE_OUTPUT_PP;
  GPIO_InitStruct.Pull = GPIO_NOPULL;
  GPIO_InitStruct.Speed = GPIO_SPEED_FREQ_LOW;
  HAL_GPIO_Init(GPIOG, &GPIO_InitStruct);

  /*Configure GPIO pins : MOTOR_1_GPIO_1_Pin MOTOR_1_GPIO_2_Pin MOTOR_2_GPIO_1_Pin */
  GPIO_InitStruct.Pin = MOTOR_1_GPIO_1_Pin|MOTOR_1_GPIO_2_Pin|MOTOR_2_GPIO_1_Pin;
  GPIO_InitStruct.Mode = GPIO_MODE_OUTPUT_PP;
  GPIO_InitStruct.Pull = GPIO_NOPULL;
  GPIO_InitStruct.Speed = GPIO_SPEED_FREQ_LOW;
  HAL_GPIO_Init(GPIOE, &GPIO_InitStruct);

  /*Configure GPIO pin : USB_OTG_FS_PWR_EN_Pin */
  GPIO_InitStruct.Pin = USB_OTG_FS_PWR_EN_Pin;
  GPIO_InitStruct.Mode = GPIO_MODE_OUTPUT_PP;
  GPIO_InitStruct.Pull = GPIO_NOPULL;
  GPIO_InitStruct.Speed = GPIO_SPEED_FREQ_LOW;
  HAL_GPIO_Init(USB_OTG_FS_PWR_EN_GPIO_Port, &GPIO_InitStruct);

  /*Configure GPIO pin : USB_OTG_FS_OVCR_Pin */
  GPIO_InitStruct.Pin = USB_OTG_FS_OVCR_Pin;
  GPIO_InitStruct.Mode = GPIO_MODE_IT_RISING;
  GPIO_InitStruct.Pull = GPIO_NOPULL;
  HAL_GPIO_Init(USB_OTG_FS_OVCR_GPIO_Port, &GPIO_InitStruct);

  /*Configure GPIO pin : PC9 */
  GPIO_InitStruct.Pin = GPIO_PIN_9;
  GPIO_InitStruct.Mode = GPIO_MODE_AF_PP;
  GPIO_InitStruct.Pull = GPIO_NOPULL;
  GPIO_InitStruct.Speed = GPIO_SPEED_FREQ_LOW;
  GPIO_InitStruct.Alternate = GPIO_AF0_MCO;
  HAL_GPIO_Init(GPIOC, &GPIO_InitStruct);

}

/* USER CODE BEGIN 4 */
void HAL_UARTEx_RxEventCallback(UART_HandleTypeDef *huart, uint16_t Size)
{
	if(huart->Instance == USART2){
		recieve_flag = 1;

		size_recieved = Size;
	}
}
/* USER CODE END 4 */

void Error_Handler(void)
{
  __disable_irq();
  while (1)
  {
  }
}
